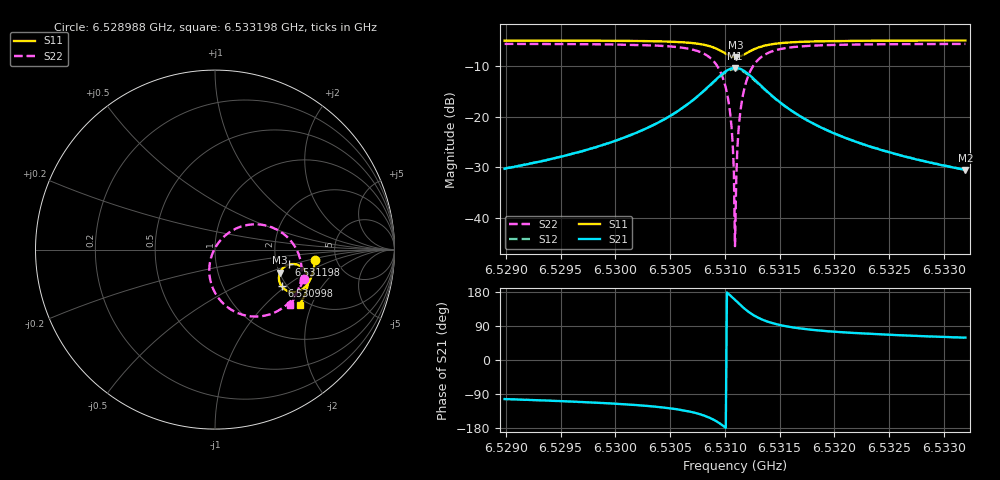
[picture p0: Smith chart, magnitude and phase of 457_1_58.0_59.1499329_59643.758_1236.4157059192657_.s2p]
#  HZ  S  RI  R  50.00
! Rohde & Schwarz Vector Network Analyzer
! Rohde-Schwarz,ZNB20-2Port,1311601062101988,3.16
! Created: UTC 3/21/2024, 1:10:48 AM
! freq[Hz]  re:S11  im:S11  re:S21  im:S21  re:S12  im:S12  re:S22  im:S22
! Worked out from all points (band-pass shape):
!   401 points, 6.528988 GHz to 6.533198 GHz, reference 50 ohm
!   highest |S21| = -10.40 dB at 6.531093 GHz (marker M1); lowest = -30.5 dB at 6.533198 GHz (marker M2)
!   |S21| within 3 dB of the highest: 6.530884 GHz to 6.531305 GHz (420.7 kHz wide, 0.00644 % of centre)
!   lowest |S11| = -8.3 dB at 6.531103 GHz (marker M3), VSWR 2.25, Z = 101 - j30.2 ohm
!   |S11| at or under -10 dB: nowhere
!   |S22| runs from -45.6 to -5.7 dB; largest |S21 - S12| = 0.012
!   S11 on the Smith chart (normalised r, x): 6.528988 GHz: 3.44, -0.60; 6.530998 GHz: 1.88, -0.93; 6.531198 GHz: 2.35, -0.47; 6.533198 GHz: 1.82, -1.64
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6.5289883e9  0.5578 -0.0595  -0.00691 -0.0297  -0.0075 -0.0298  0.4945 -0.1629
6.5296934e9  0.5475 -0.1178  -0.0162 -0.0424  -0.0172 -0.0421  0.4644 -0.2282
6.5303984e9  0.5192 -0.187  -0.0493 -0.0728  -0.0514 -0.0716  0.3842 -0.3196
6.5308193e9  0.4492 -0.2359  -0.1553 -0.0983  -0.1576 -0.0924  0.1805 -0.3692
6.5309246e9  0.4053 -0.2309  -0.2236 -0.0727  -0.223 -0.0636  0.0637 -0.316
6.5309982e9  0.3713 -0.204  -0.2742 -0.0154  -0.2688 -0.00588  -0.0137 -0.2113
6.5310298e9  0.3607 -0.1842  -0.2878 0.0224  -0.28 0.0309  -0.0303 -0.1461
6.5310508e9  0.3568 -0.1688  -0.2913 0.0512  -0.2821 0.0583  -0.0314 -0.0978
6.5310614e9  0.3561 -0.1606  -0.2908 0.0661  -0.2813 0.0723  -0.0285 -0.0734
6.5310719e9  0.3564 -0.1523  -0.2892 0.081  -0.2791 0.0865  -0.0232 -0.0487
6.5310824e9  0.3574 -0.1441  -0.286 0.0959  -0.2755 0.1006  -0.0155 -0.0246
6.5310929e9  0.3594 -0.136  -0.281 0.1108  -0.2704 0.1143  -0.0051 -0.00128
6.5311035e9  0.3623 -0.128  -0.2747 0.125  -0.2643 0.1272  0.00743 0.0209
6.531114e9  0.366 -0.1204  -0.2671 0.1384  -0.2567 0.1399  0.022 0.0418
6.5311245e9  0.3704 -0.1134  -0.2584 0.1508  -0.2482 0.1514  0.0383 0.0608
6.5311455e9  0.381 -0.101  -0.2378 0.1723  -0.2285 0.1714  0.0755 0.0931
6.5311982e9  0.4138 -0.0829  -0.1783 0.2044  -0.1718 0.2013  0.179 0.1369
6.5312718e9  0.4561 -0.0832  -0.1038 0.2067  -0.1005 0.2037  0.3048 0.1282
6.5313771e9  0.4928 -0.1057  -0.0397 0.1762  -0.0381 0.1745  0.4098 0.0626
6.531798e9  0.5179 -0.1853  0.0156 0.085  0.0165 0.0847  0.483 -0.1281
6.532503e9  0.4982 -0.2567  0.0177 0.0406  0.0183 0.0405  0.4554 -0.2451
6.5331975e9  0.471 -0.3082  0.0152 0.0255  0.0159 0.0252  0.4205 -0.3065
